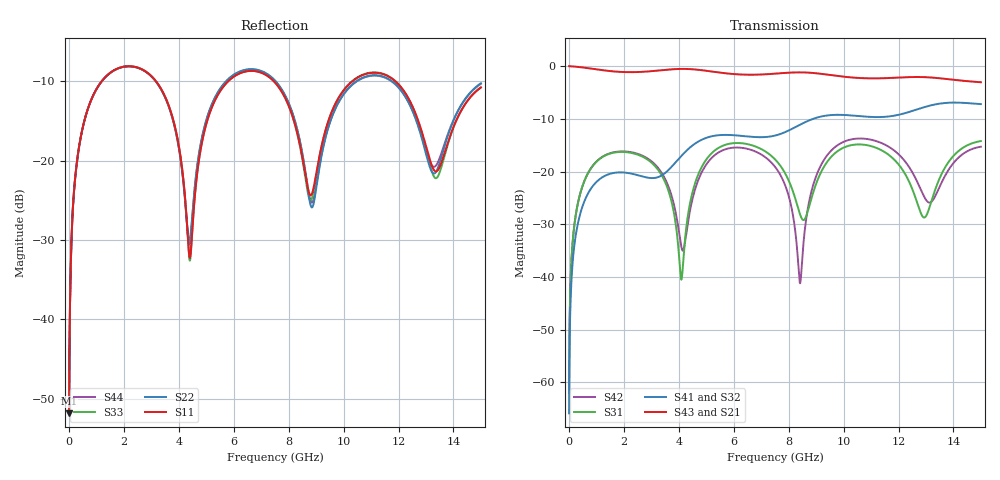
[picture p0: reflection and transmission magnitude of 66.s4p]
! Created with skrf 1.8.0 (http://scikit-rf.org).
# GHz S RI R 50.0
!freq ReS11 ImS11 ReS12 ImS12 ReS13 ImS13
! ReS14 ImS14
! ReS21 ImS21 ReS22 ImS22 ReS23 ImS23
! ReS24 ImS24
! ReS31 ImS31 ReS32 ImS32 ReS33 ImS33
! ReS34 ImS34
! ReS41 ImS41 ReS42 ImS42 ReS43 ImS43
! ReS44 ImS44
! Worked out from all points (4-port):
!   2499 points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, 5 MHz to 15 GHz, reference 50 ohm
!   strongest paths, dB at 5 MHz, 3.476 GHz, 7.19 GHz, 11.1 GHz, 15 GHz:
!     S43: 0.0, -0.7, -1.6, -2.3, -3.1
!     S21: 0.0, -0.7, -1.6, -2.3, -3.1
!     S41: -65.9, -20.4, -13.4, -9.7, -7.2
!     S32: -65.9, -20.4, -13.5, -9.7, -7.2
!     S31: -62.0, -21.7, -16.3, -15.3, -14.2
!     S42: -62.0, -21.2, -17.4, -14.1, -15.3
!   lowest |S11| = -51.8 dB at 5 MHz (marker M1), VSWR 1.01, Z = 50.2 + j0.156 ohm
!   |S11| at or under -10 dB: 3.17 GHz to 5.796 GHz (2.626 GHz wide, 58.6 % of centre); 7.463 GHz to 10.32 GHz (2.858 GHz wide, 32.1 % of centre); 11.89 GHz to end of sweep (the widest 3 of 4)
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0.005  0.00204 0.00155  0.9979 -0.00396  0.000103 0.000791  -0.0001 -0.0005
       0.9979 -0.00396  0.00204 0.00155  -0.0001 -0.0005  0.000103 0.000791
       0.000103 0.000791  -0.0001 -0.0005  0.00204 0.00155  0.9979 -0.00396
       -0.0001 -0.0005  0.000103 0.000791  0.9979 -0.00396  0.00204 0.00155
0.3126303  0.0348 0.0996  0.9523 -0.244  0.0159 0.0456  -0.0134 -0.028
           0.9523 -0.244  0.0347 0.0996  -0.0134 -0.028  0.0162 0.0455
           0.0159 0.0456  -0.0134 -0.028  0.0348 0.0996  0.9523 -0.244
           -0.0134 -0.028  0.0162 0.0455  0.9523 -0.244  0.0347 0.0996
1.3193  0.2891 0.1705  0.5099 -0.7505  0.1302 0.0566  -0.0914 0.000253
        0.5099 -0.7505  0.2882 0.1712  -0.0912 6.02e-05  0.1328 0.0526
        0.1302 0.0566  -0.0912 6.02e-05  0.2892 0.1704  0.5099 -0.7505
        -0.0914 0.000253  0.1328 0.0526  0.5099 -0.7505  0.2881 0.1712
4.308045  0.0253 -0.0276  -0.93 -0.1264  0.015 0.0315  -0.0161 0.1595
          -0.93 -0.1264  0.0303 -0.0218  -0.019 0.1592  -0.014 0.0265
          0.015 0.0315  -0.019 0.1592  0.0244 -0.0278  -0.9299 -0.1265
          -0.0161 0.1595  -0.014 0.0265  -0.9299 -0.1265  0.0314 -0.0219
8.841184  0.061 0.00844  0.854 0.1187  -0.0101 0.0561  0.0281 -0.3111
          0.854 0.1187  0.0506 -0.00372  0.0395 -0.3101  0.0208 0.0633
          -0.0101 0.0561  0.0395 -0.3101  0.0565 0.00967  0.8541 0.1185
          0.0281 -0.3111  0.0208 0.0633  0.8541 0.1185  0.0543 -0.00309
11.66111  0.3246 -0.0924  -0.137 -0.7581  0.0663 -0.1264  -0.3136 0.1126
          -0.137 -0.7581  0.3148 -0.082  -0.3171 0.0957  0.0653 -0.1577
          0.0663 -0.1264  -0.3171 0.0957  0.3254 -0.0954  -0.137 -0.7582
          -0.3136 0.1126  0.0653 -0.1577  -0.137 -0.7582  0.3139 -0.0781
15  0.2724 0.0959  -0.4032 0.5754  0.1651 -0.1029  0.389 0.1967
    -0.4032 0.5754  0.2879 0.1078  0.3752 0.2196  0.1508 -0.0826
    0.1651 -0.1029  0.3752 0.2196  0.2718 0.0999  -0.4036 0.5755
    0.389 0.1967  0.1508 -0.0826  -0.4036 0.5755  0.2872 0.1023
